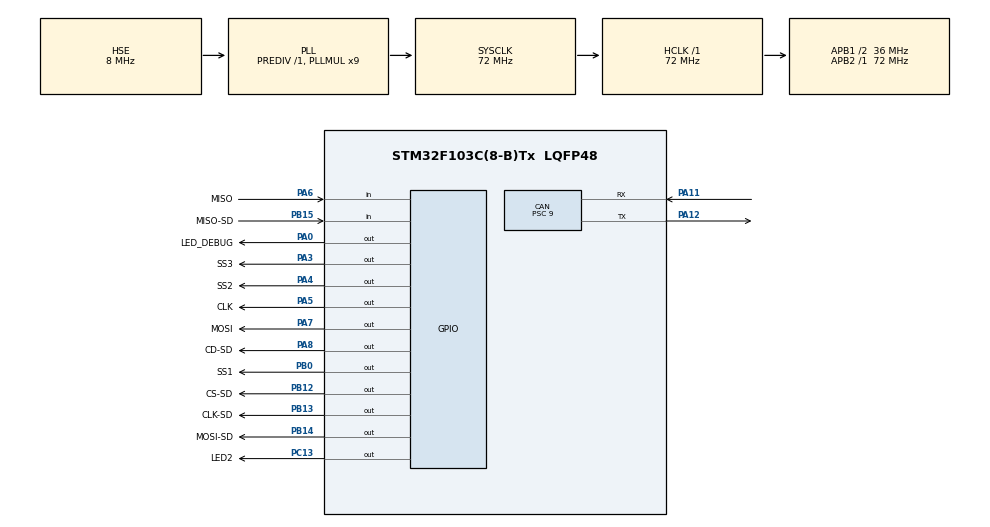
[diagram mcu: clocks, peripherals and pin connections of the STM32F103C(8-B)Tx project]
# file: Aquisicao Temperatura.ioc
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Mcu.Family=STM32F1
RCC.PLLSourceVirtual=RCC_PLLSOURCE_HSE
PD1-OSC_OUT.Mode=HSE-External-Oscillator
CAN.CalculateBaudRate=500000
PB14.GPIO_Label=MOSI-SD
PC13-TAMPER-RTC.Signal=GPIO_Output
PA11.Mode=CAN_Activate
PA6.GPIO_Label=MISO
PB0.GPIO_Label=SS1
PD0-OSC_IN.Signal=RCC_OSC_IN
RCC.APB1CLKDivider=RCC_HCLK_DIV2
PB13.GPIO_Label=CLK-SD
PB13.Signal=GPIO_Output
PB15.Signal=GPIO_Input
CAN.CalculateTimeBit=2000.00
RCC.SYSCLKSource=RCC_SYSCLKSOURCE_PLLCLK
ProjectManager.StackSize=0x400
PA0-WKUP.GPIO_Label=LED_DEBUG
PA0-WKUP.Signal=GPIO_Output
PD1-OSC_OUT.Signal=RCC_OSC_OUT
PA13.Signal=SYS_JTMS-SWDIO
PA12.Signal=CAN_TX
PA8.GPIO_Label=CD-SD
CAN.Prescaler=9
CAN.BS1=CAN_BS1_6TQ
ProjectManager.TargetToolchain=STM32CubeIDE
RCC.HCLKFreq_Value=72000000
RCC.APB2TimFreq_Value=72000000
RCC.USBFreq_Value=72000000
RCC.AHBFreq_Value=72000000
PD0-OSC_IN.Mode=HSE-External-Oscillator
PB14.Signal=GPIO_Output
PA5.Signal=GPIO_Output
board=custom
PC13-TAMPER-RTC.GPIO_Label=LED2
RCC.PLLMUL=RCC_PLL_MUL9
PB12.GPIO_Label=CS-SD
RCC.APB2Freq_Value=72000000
PB15.GPIO_Label=MISO-SD
PA14.Mode=Serial_Wire
PA8.Signal=GPIO_Output
PA13.Mode=Serial_Wire
Mcu.Name=STM32F103C(8-B)Tx
CAN.CalculateTimeQuantum=250.0
PA4.Signal=GPIO_Output
RCC.SYSCLKFreq_VALUE=72000000
Mcu.Package=LQFP48
PA6.Signal=GPIO_Input
PA7.GPIO_Label=MOSI
PA12.Mode=CAN_Activate
PA5.GPIO_Label=CLK
PA11.Signal=CAN_RX
PA14.Signal=SYS_JTCK-SWCLK
ProjectManager.HeapSize=0x200
NVIC.PriorityGroup=NVIC_PRIORITYGROUP_4
RCC.APB1TimFreq_Value=72000000
RCC.APB1Freq_Value=36000000
PB0.Signal=GPIO_Output
PA4.GPIO_Label=SS2
PB12.Signal=GPIO_Output
PA3.GPIO_Label=SS3
PA3.Signal=GPIO_Output
PA7.Signal=GPIO_Output

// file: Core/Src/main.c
/* USER CODE BEGIN Header */
/**
  ******************************************************************************
  * @file           : main.c
  * @brief          : Main program body
  ******************************************************************************
  * @attention
  *
  * <h2><center>&copy; Copyright (c) 2021 STMicroelectronics.
  * All rights reserved.</center></h2>
  *
  * This software component is licensed by ST under BSD 3-Clause license,
  * the "License"; You may not use this file except in compliance with the
  * License. You may obtain a copy of the License at:
  *                        opensource.org/licenses/BSD-3-Clause
  *
  ******************************************************************************
  */
/* USER CODE END Header */
#include "main.h"
#include "can.h"
#include "gpio.h"
#include <MAX31865.h>

void SystemClock_Config(void);

int main(void)
{

  /* MCU Configuration--------------------------------------------------------*/

  /* Reset of all peripherals, Initializes the Flash interface and the Systick. */
  HAL_Init();

  /* Configure the system clock */
  SystemClock_Config();

  /* Initialize all configured peripherals */
  MX_GPIO_Init();
  MX_CAN_Init();

  /* Infinite loop */
  /* USER CODE BEGIN WHILE */
  MAX31865_GPIO max_gpio_1;
  	max_gpio_1.MISO_PIN = MISO_Pin; //SDO
  	max_gpio_1.MISO_PORT = MISO_GPIO_Port;
  	max_gpio_1.MOSI_PIN = MOSI_Pin; //SDI
  	max_gpio_1.MOSI_PORT = MOSI_GPIO_Port;
  	max_gpio_1.CLK_PIN = CLK_Pin;
  	max_gpio_1.CLK_PORT = CLK_GPIO_Port;
  	max_gpio_1.CE_PIN = SS1_Pin; //CS
  	max_gpio_1.CE_PORT = SS1_GPIO_Port;

  	MAX31865_GPIO max_gpio_2;
  	max_gpio_2.MISO_PIN = MISO_Pin;
  	max_gpio_2.MISO_PORT = MISO_GPIO_Port;
  	max_gpio_2.MOSI_PIN = MOSI_Pin;
  	max_gpio_2.MOSI_PORT = MOSI_GPIO_Port;
  	max_gpio_2.CLK_PIN = CLK_Pin;
  	max_gpio_2.CLK_PORT = CLK_GPIO_Port;
  	max_gpio_2.CE_PIN = SS2_Pin;
  	max_gpio_2.CE_PORT = SS2_GPIO_Port;

  	MAX31865_GPIO max_gpio_3;
  	max_gpio_3.MISO_PIN = MISO_Pin;
  	max_gpio_3.MISO_PORT = MISO_GPIO_Port;
  	max_gpio_3.MOSI_PIN = MOSI_Pin;
  	max_gpio_3.MOSI_PORT = MOSI_GPIO_Port;
  	max_gpio_3.CLK_PIN = CLK_Pin;
  	max_gpio_3.CLK_PORT = CLK_GPIO_Port;
  	max_gpio_3.CE_PIN = SS3_Pin;
  	max_gpio_3.CE_PORT = SS3_GPIO_Port;

  	uint16_t temp[4];

    while (1)
    {
  		//Inicializa os m�dulos, l� temperatura
  			MAX31865_init(&max_gpio_1, 2);

  			temp[0] = 10*MAX31865_readTemp();

  			HAL_GPIO_WritePin(LED_DEBUG_GPIO_Port, LED_DEBUG_Pin, GPIO_PIN_SET);
  			HAL_Delay(200);
  			HAL_GPIO_WritePin(LED_DEBUG_GPIO_Port, LED_DEBUG_Pin, GPIO_PIN_RESET);
  			HAL_Delay(300);

  			MAX31865_init(&max_gpio_2, 2);

  			temp[1] = 10*MAX31865_readTemp();

  			HAL_GPIO_WritePin(LED_DEBUG_GPIO_Port, LED_DEBUG_Pin, GPIO_PIN_SET);
  			HAL_Delay(200);
  			HAL_GPIO_WritePin(LED_DEBUG_GPIO_Port, LED_DEBUG_Pin, GPIO_PIN_RESET);
  			HAL_Delay(300);

  			MAX31865_init(&max_gpio_3, 2);

  			temp[2] = 10*MAX31865_readTemp();

  			HAL_GPIO_WritePin(LED_DEBUG_GPIO_Port, LED_DEBUG_Pin, GPIO_PIN_SET);
  			HAL_Delay(200);
  			HAL_GPIO_WritePin(LED_DEBUG_GPIO_Port, LED_DEBUG_Pin, GPIO_PIN_RESET);
  			HAL_Delay(300);

  			//envia as vari�veis por can

  			CAN_Transmit(temp);
  			HAL_GPIO_WritePin(LED2_GPIO_Port, LED2_Pin, GPIO_PIN_SET);
  			HAL_Delay(50);
  			HAL_GPIO_WritePin(LED2_GPIO_Port, LED2_Pin, GPIO_PIN_RESET);

  	}

    /* USER CODE END WHILE */

}

void SystemClock_Config(void)
{
  RCC_OscInitTypeDef RCC_OscInitStruct = {0};
  RCC_ClkInitTypeDef RCC_ClkInitStruct = {0};

  /** Initializes the RCC Oscillators according to the specified parameters
  * in the RCC_OscInitTypeDef structure.
  */
  RCC_OscInitStruct.OscillatorType = RCC_OSCILLATORTYPE_HSE;
  RCC_OscInitStruct.HSEState = RCC_HSE_ON;
  RCC_OscInitStruct.HSEPredivValue = RCC_HSE_PREDIV_DIV1;
  RCC_OscInitStruct.HSIState = RCC_HSI_ON;
  RCC_OscInitStruct.PLL.PLLState = RCC_PLL_ON;
  RCC_OscInitStruct.PLL.PLLSource = RCC_PLLSOURCE_HSE;
  RCC_OscInitStruct.PLL.PLLMUL = RCC_PLL_MUL9;
  if (HAL_RCC_OscConfig(&RCC_OscInitStruct) != HAL_OK)
  {
    Error_Handler();
  }
  /** Initializes the CPU, AHB and APB buses clocks
  */
  RCC_ClkInitStruct.ClockType = RCC_CLOCKTYPE_HCLK|RCC_CLOCKTYPE_SYSCLK
                              |RCC_CLOCKTYPE_PCLK1|RCC_CLOCKTYPE_PCLK2;
  RCC_ClkInitStruct.SYSCLKSource = RCC_SYSCLKSOURCE_PLLCLK;
  RCC_ClkInitStruct.AHBCLKDivider = RCC_SYSCLK_DIV1;
  RCC_ClkInitStruct.APB1CLKDivider = RCC_HCLK_DIV2;
  RCC_ClkInitStruct.APB2CLKDivider = RCC_HCLK_DIV1;

  if (HAL_RCC_ClockConfig(&RCC_ClkInitStruct, FLASH_LATENCY_2) != HAL_OK)
  {
    Error_Handler();
  }
}

void Error_Handler(void)
{
  __disable_irq();
  while (1)
  {
  }
}

/************************ (C) COPYRIGHT STMicroelectronics *****END OF FILE****/
